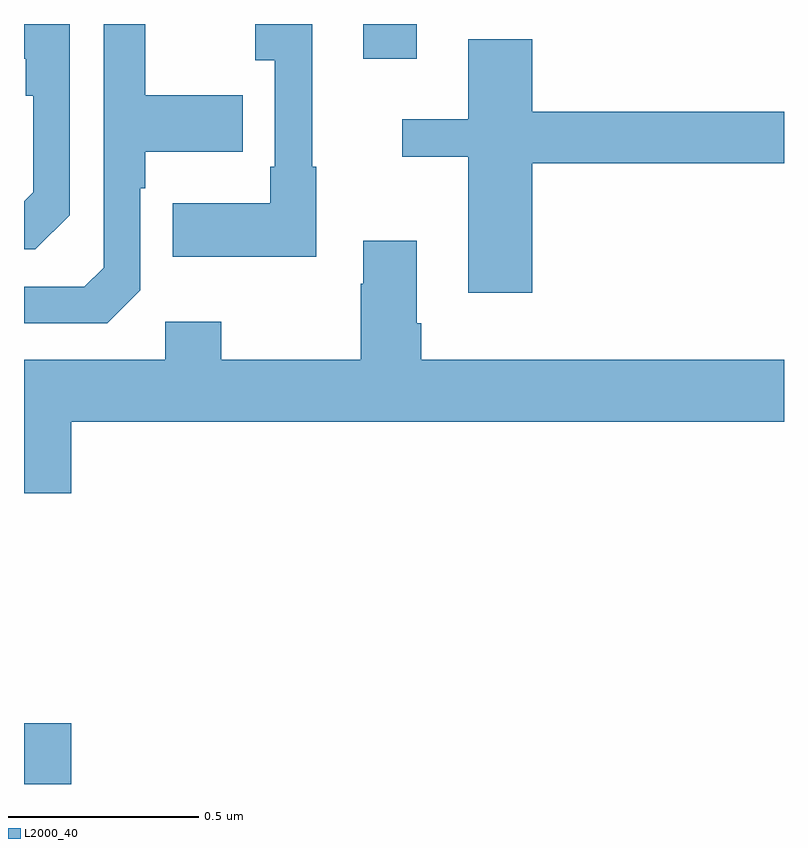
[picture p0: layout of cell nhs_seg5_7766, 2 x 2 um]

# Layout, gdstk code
import gdstk
lib = gdstk.Library(unit=1e-6, precision=1e-09)
def R(c, l, rs):  # rectangles x0, y0, x1, y1
    for r in rs: c.add(gdstk.rectangle(r[:2], r[2:], *l))
def P(c, l, *ps):  # polygons
    for p in ps: c.add(gdstk.Polygon(p, *l))
L2000_40 = (2000, 40)

nhs_seg5_7766 = lib.new_cell('nhs_seg5_7766')
R(nhs_seg5_7766, L2000_40, [(213,863.799,213.124,863.959), (213.893,865.707,214.033,865.799)])
P(nhs_seg5_7766, L2000_40, [(213.306,865.098),(213.306,865.367),(213.319,865.367),(213.319,865.463),(213.575,865.463),(213.575,865.611),(213.319,865.611),(213.319,865.799),(213.21,865.799),(213.21,865.158),(213.159,865.107),(213,865.107),(213,865.011),(213.219,865.011)],
  [(213.769,865.423),(213.759,865.423),(213.759,865.799),(213.609,865.799),(213.609,865.703),(213.66,865.703),(213.66,865.423),(213.648,865.423),(213.648,865.327),(213.391,865.327),(213.391,865.187),(213.769,865.187)],
  [(213.12,865.296),(213.12,865.799),(213,865.799),(213,865.707),(213.004,865.707),(213.004,865.61),(213.024,865.61),(213.024,865.356),(213,865.332),(213,865.206),(213.03,865.206)],
  [(214.337,865.432),(215,865.432),(215,865.568),(214.337,865.568),(214.337,865.759),(214.169,865.759),(214.169,865.549),(213.996,865.549),(213.996,865.45),(214.169,865.45),(214.169,865.092),(214.337,865.092)],
  [(213.124,864.752),(215,864.752),(215,864.916),(214.046,864.916),(214.046,865.012),(214.033,865.012),(214.033,865.228),(213.893,865.228),(213.893,865.115),(213.886,865.115),(213.886,864.916),(213.519,864.916),(213.519,865.015),(213.372,865.015),(213.372,864.916),(213,864.916),(213,864.564),(213.124,864.564)])

lib.write_gds('nhs_seg5_7766.gds')
